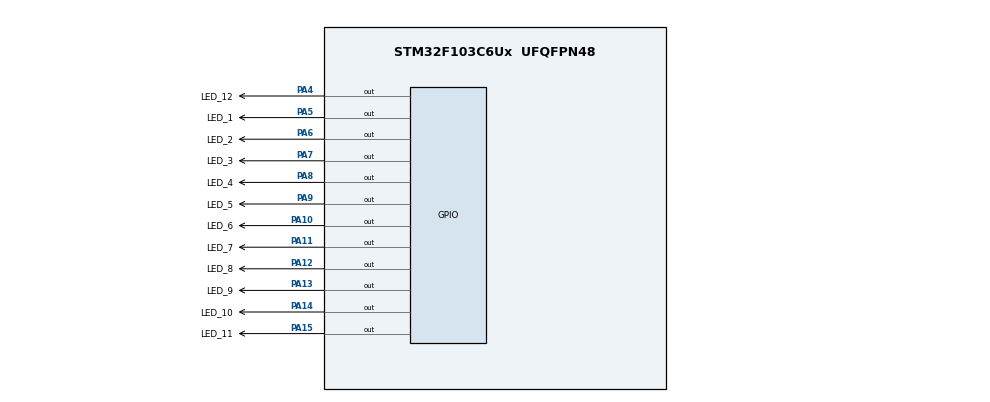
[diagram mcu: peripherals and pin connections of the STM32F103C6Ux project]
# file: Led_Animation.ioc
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Mcu.Family=STM32F1
Mcu.Name=STM32F103C6Ux
Mcu.Package=UFQFPN48
NVIC.PriorityGroup=NVIC_PRIORITYGROUP_4
NVIC.TIM2_IRQn=true\:0\:0\:false\:false\:true\:true\:true
PA10.GPIO_Label=LED_6
PA10.Signal=GPIO_Output
PA11.GPIO_Label=LED_7
PA11.Signal=GPIO_Output
PA12.GPIO_Label=LED_8
PA12.Signal=GPIO_Output
PA13.GPIO_Label=LED_9
PA13.Signal=GPIO_Output
PA14.GPIO_Label=LED_10
PA14.Signal=GPIO_Output
PA15.GPIO_Label=LED_11
PA15.Signal=GPIO_Output
PA4.GPIO_Label=LED_12
PA4.Signal=GPIO_Output
PA5.GPIO_Label=LED_1
PA5.Signal=GPIO_Output
PA6.GPIO_Label=LED_2
PA6.Signal=GPIO_Output
PA7.GPIO_Label=LED_3
PA7.Signal=GPIO_Output
PA8.GPIO_Label=LED_4
PA8.Signal=GPIO_Output
PA9.GPIO_Label=LED_5
PA9.Signal=GPIO_Output
ProjectManager.HeapSize=0x200
ProjectManager.StackSize=0x400
ProjectManager.TargetToolchain=STM32CubeIDE
RCC.APB1Freq_Value=8000000
RCC.APB2Freq_Value=8000000
TIM2.Period=999
TIM2.Prescaler=7999
VP_SYS_VS_ND.Mode=No_Debug
VP_TIM2_VS_ClockSourceINT.Mode=Internal
board=custom

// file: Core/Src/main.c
/* USER CODE BEGIN Header */
/**
  ******************************************************************************
  * @file           : main.c
  * @brief          : Main program body
  ******************************************************************************
  * @attention
  *
  * <h2><center>&copy; Copyright (c) 2023 STMicroelectronics.
  * All rights reserved.</center></h2>
  *
  * This software component is licensed by ST under BSD 3-Clause license,
  * the "License"; You may not use this file except in compliance with the
  * License. You may obtain a copy of the License at:
  *                        opensource.org/licenses/BSD-3-Clause
  *
  ******************************************************************************
  */
/* USER CODE END Header */
#include "main.h"
#include <stdio.h>
/* USER CODE BEGIN Includes */
#include "software_timer.h"
/* USER CODE END Includes */

TIM_HandleTypeDef htim2;

struct time{
	int hour;
	int minute;
	int second;
};

void SystemClock_Config(void);
static void MX_GPIO_Init(void);
static void MX_TIM2_Init(void);
void setNumberOnClock(int number);
void clearNumberOnClock(int number);
void clearAllClock();
struct time initTime(int hour, int minute, int second);
void displayTime(struct time input);

int main(void)
{

  /* MCU Configuration--------------------------------------------------------*/

  /* Reset of all peripherals, Initializes the Flash interface and the Systick. */
  HAL_Init();

  /* Configure the system clock */
  SystemClock_Config();

  /* Initialize all configured peripherals */
  MX_GPIO_Init();
  MX_TIM2_Init();
  /* USER CODE BEGIN 2 */
  //HAL_TIM_Base_Start_IT(&htim2);
  /* USER CODE END 2 */

  /* Infinite loop */
  /* USER CODE BEGIN WHILE */
  struct time tmp = initTime(1, 0, 0);
  displayTime(tmp);
  set_Timer1(60 - tmp.second);
  while (1)
  {
	clearAllClock();
	tmp.second++;// = get_timer1_counter();
	displayTime(tmp);
	HAL_Delay(10);
	if(tmp.second == 60){
		//clearAllClock();
		//tmp.second = get_timer1_counter();
		//displayTime(tmp);
		tmp.minute++;
		if(tmp.minute>=60){
			tmp.hour++;
			tmp.minute = 0;
		}
		//set_Timer1(0);
		tmp.second = 0;
	}
  }
}

void SystemClock_Config(void)
{
  RCC_OscInitTypeDef RCC_OscInitStruct = {0};
  RCC_ClkInitTypeDef RCC_ClkInitStruct = {0};

  /** Initializes the RCC Oscillators according to the specified parameters
  * in the RCC_OscInitTypeDef structure.
  */
  RCC_OscInitStruct.OscillatorType = RCC_OSCILLATORTYPE_HSI;
  RCC_OscInitStruct.HSIState = RCC_HSI_ON;
  RCC_OscInitStruct.HSICalibrationValue = RCC_HSICALIBRATION_DEFAULT;
  RCC_OscInitStruct.PLL.PLLState = RCC_PLL_NONE;
  if (HAL_RCC_OscConfig(&RCC_OscInitStruct) != HAL_OK)
  {
    Error_Handler();
  }
  /** Initializes the CPU, AHB and APB buses clocks
  */
  RCC_ClkInitStruct.ClockType = RCC_CLOCKTYPE_HCLK|RCC_CLOCKTYPE_SYSCLK
                              |RCC_CLOCKTYPE_PCLK1|RCC_CLOCKTYPE_PCLK2;
  RCC_ClkInitStruct.SYSCLKSource = RCC_SYSCLKSOURCE_HSI;
  RCC_ClkInitStruct.AHBCLKDivider = RCC_SYSCLK_DIV1;
  RCC_ClkInitStruct.APB1CLKDivider = RCC_HCLK_DIV1;
  RCC_ClkInitStruct.APB2CLKDivider = RCC_HCLK_DIV1;

  if (HAL_RCC_ClockConfig(&RCC_ClkInitStruct, FLASH_LATENCY_0) != HAL_OK)
  {
    Error_Handler();
  }
}

static void MX_TIM2_Init(void)
{

  TIM_ClockConfigTypeDef sClockSourceConfig = {0};
  TIM_MasterConfigTypeDef sMasterConfig = {0};

  htim2.Instance = TIM2;
  htim2.Init.Prescaler = 7999;
  htim2.Init.CounterMode = TIM_COUNTERMODE_UP;
  htim2.Init.Period = 999;
  htim2.Init.ClockDivision = TIM_CLOCKDIVISION_DIV1;
  htim2.Init.AutoReloadPreload = TIM_AUTORELOAD_PRELOAD_DISABLE;
  if (HAL_TIM_Base_Init(&htim2) != HAL_OK)
  {
    Error_Handler();
  }
  sClockSourceConfig.ClockSource = TIM_CLOCKSOURCE_INTERNAL;
  if (HAL_TIM_ConfigClockSource(&htim2, &sClockSourceConfig) != HAL_OK)
  {
    Error_Handler();
  }
  sMasterConfig.MasterOutputTrigger = TIM_TRGO_RESET;
  sMasterConfig.MasterSlaveMode = TIM_MASTERSLAVEMODE_DISABLE;
  if (HAL_TIMEx_MasterConfigSynchronization(&htim2, &sMasterConfig) != HAL_OK)
  {
    Error_Handler();
  }

}

static void MX_GPIO_Init(void)
{
  GPIO_InitTypeDef GPIO_InitStruct = {0};

  /* GPIO Ports Clock Enable */
  __HAL_RCC_GPIOA_CLK_ENABLE();

  /*Configure GPIO pin Output Level */
  HAL_GPIO_WritePin(GPIOA, LED_12_Pin|LED_1_Pin|LED_2_Pin|LED_3_Pin
                          |LED_4_Pin|LED_5_Pin|LED_6_Pin|LED_7_Pin
                          |LED_8_Pin|LED_9_Pin|LED_10_Pin|LED_11_Pin, GPIO_PIN_SET);

  /*Configure GPIO pins : LED_12_Pin LED_1_Pin LED_2_Pin LED_3_Pin
                           LED_4_Pin LED_5_Pin LED_6_Pin LED_7_Pin
                           LED_8_Pin LED_9_Pin LED_10_Pin LED_11_Pin */
  GPIO_InitStruct.Pin = LED_12_Pin|LED_1_Pin|LED_2_Pin|LED_3_Pin
                          |LED_4_Pin|LED_5_Pin|LED_6_Pin|LED_7_Pin
                          |LED_8_Pin|LED_9_Pin|LED_10_Pin|LED_11_Pin;
  GPIO_InitStruct.Mode = GPIO_MODE_OUTPUT_PP;
  GPIO_InitStruct.Pull = GPIO_NOPULL;
  GPIO_InitStruct.Speed = GPIO_SPEED_FREQ_LOW;
  HAL_GPIO_Init(GPIOA, &GPIO_InitStruct);

}

/* USER CODE BEGIN 4 */

void HAL_TIM_PeriodElapsedCallback(TIM_HandleTypeDef *htim){
	timerRun();
}

void setNumberOnClock(int number){
	HAL_GPIO_WritePin(GPIOA, LED_12_Pin<<(number), 0);
}

void clearNumberOnClock(int number){
	HAL_GPIO_WritePin(GPIOA, LED_12_Pin<<(number), 1);
}
void clearAllClock(){
    for(int i = 0; i<12; i++)
		  HAL_GPIO_WritePin(GPIOA, LED_12_Pin<<(i), 1);
}

struct time initTime(int hour, int minute, int second){
	struct time tmp;
	tmp.hour = hour;
	tmp.minute = minute;
	tmp.second = second;

return tmp;
}
void displayTime(struct time input){
	setNumberOnClock(input.hour%12);
	setNumberOnClock(input.minute/5);
	setNumberOnClock(input.second/5);
}
/* USER CODE END 4 */

void Error_Handler(void)
{
  __disable_irq();
  while (1)
  {
  }
}

/************************ (C) COPYRIGHT STMicroelectronics *****END OF FILE****/
